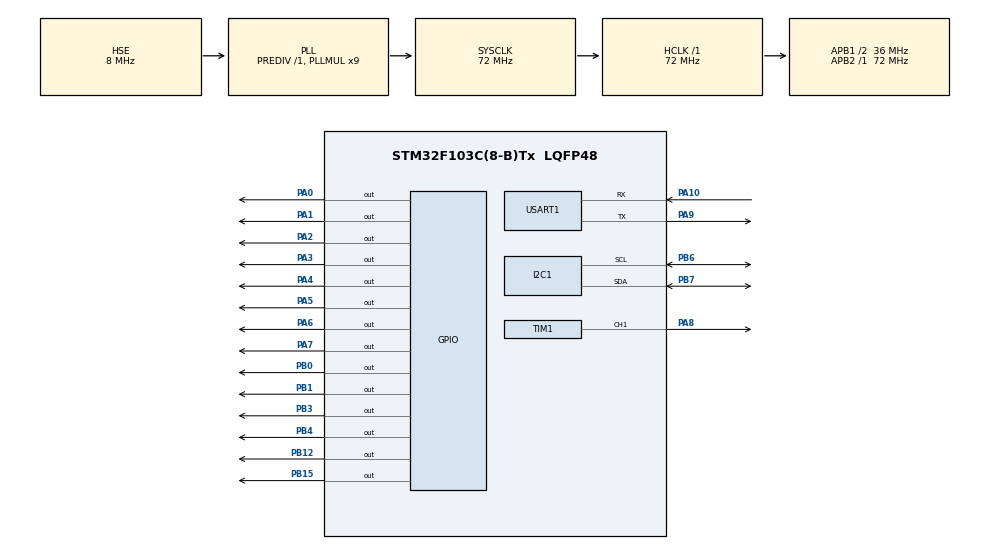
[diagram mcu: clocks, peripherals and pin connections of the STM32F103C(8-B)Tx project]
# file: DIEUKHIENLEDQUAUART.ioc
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Mcu.Family=STM32F1
Mcu.Name=STM32F103C(8-B)Tx
Mcu.Package=LQFP48
NVIC.PriorityGroup=NVIC_PRIORITYGROUP_4
NVIC.USART1_IRQn=true\:0\:0\:false\:false\:true\:true\:true\:true
PA0-WKUP.Signal=GPIO_Output
PA1.Signal=GPIO_Output
PA10.Mode=Asynchronous
PA10.Signal=USART1_RX
PA13.Mode=Serial_Wire
PA13.Signal=SYS_JTMS-SWDIO
PA14.Mode=Serial_Wire
PA14.Signal=SYS_JTCK-SWCLK
PA2.Signal=GPIO_Output
PA3.Signal=GPIO_Output
PA4.Signal=GPIO_Output
PA5.Signal=GPIO_Output
PA6.Signal=GPIO_Output
PA7.Signal=GPIO_Output
PA8.Signal=S_TIM1_CH1
PA9.Mode=Asynchronous
PA9.Signal=USART1_TX
PB0.Signal=GPIO_Output
PB1.Signal=GPIO_Output
PB12.Signal=GPIO_Output
PB15.Signal=GPIO_Output
PB3.Signal=GPIO_Output
PB4.Signal=GPIO_Output
PB6.Mode=I2C
PB6.Signal=I2C1_SCL
PB7.Mode=I2C
PB7.Signal=I2C1_SDA
PD0-OSC_IN.Mode=HSE-External-Oscillator
PD0-OSC_IN.Signal=RCC_OSC_IN
PD1-OSC_OUT.Mode=HSE-External-Oscillator
PD1-OSC_OUT.Signal=RCC_OSC_OUT
ProjectManager.HeapSize=0x200
ProjectManager.StackSize=0x400
ProjectManager.TargetToolchain=MDK-ARM V5.32
RCC.AHBFreq_Value=72000000
RCC.APB1CLKDivider=RCC_HCLK_DIV2
RCC.APB1Freq_Value=36000000
RCC.APB1TimFreq_Value=72000000
RCC.APB2Freq_Value=72000000
RCC.APB2TimFreq_Value=72000000
RCC.HCLKFreq_Value=72000000
RCC.PLLMUL=RCC_PLL_MUL9
RCC.PLLSourceVirtual=RCC_PLLSOURCE_HSE
RCC.SYSCLKFreq_VALUE=72000000
RCC.SYSCLKSource=RCC_SYSCLKSOURCE_PLLCLK
RCC.USBFreq_Value=72000000
SH.S_TIM1_CH1.0=TIM1_CH1,PWM Generation1 CH1
TIM1.Channel-PWM\ Generation1\ CH1=TIM_CHANNEL_1
TIM1.Period=999
TIM1.Prescaler=71
USART1.VirtualMode=VM_ASYNC
VP_TIM1_VS_ClockSourceINT.Mode=Internal
board=custom

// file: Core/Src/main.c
/* USER CODE BEGIN Header */
/**
  ******************************************************************************
  * @file           : main.c
  * @brief          : Main program body
  ******************************************************************************
  * @attention
  *
  * Copyright (c) 2023 STMicroelectronics.
  * All rights reserved.
  *
  * This software is licensed under terms that can be found in the LICENSE file
  * in the root directory of this software component.
  * If no LICENSE file comes with this software, it is provided AS-IS.
  *
  ******************************************************************************
  */
/* USER CODE END Header */
#include "main.h"

/* USER CODE BEGIN Includes */
#include "Uart.h"
#include "Response.h"
#include "Time3231.h"
#include "Time_service.h"
#include "Led7.h"
#include "Motor.h"
#include "Fan_service.h"
/* USER CODE END Includes */

I2C_HandleTypeDef hi2c1;

TIM_HandleTypeDef htim1;

UART_HandleTypeDef huart1;

void SystemClock_Config(void);
static void MX_GPIO_Init(void);
static void MX_USART1_UART_Init(void);
static void MX_I2C1_Init(void);
static void MX_TIM1_Init(void);

/* USER CODE BEGIN 0 */

RTC_DS3231 rtc_3231;
handle_motor motor;
Led7 LED1;
Led7 LED2;
Led7 LED3;
Led7 LED4;

unsigned char buff_rx ;
void HAL_UART_RxCpltCallback(UART_HandleTypeDef *huart){
	if(huart->Instance == huart1.Instance){
		uart_receive(buff_rx);
		HAL_UART_Receive_IT(&huart1 ,&buff_rx ,1);
	}
}

/* USER CODE END 0 */

int main(void)
{

  /* MCU Configuration--------------------------------------------------------*/

  /* Reset of all peripherals, Initializes the Flash interface and the Systick. */
  HAL_Init();

  /* Configure the system clock */
  SystemClock_Config();

  /* Initialize all configured peripherals */
  MX_GPIO_Init();
  MX_USART1_UART_Init();
  MX_I2C1_Init();
  MX_TIM1_Init();
  /* USER CODE BEGIN 2 */
	HAL_TIM_PWM_Start(&htim1,TIM_CHANNEL_1);
	response_init(&huart1);
	HAL_UART_Receive_IT(&huart1 ,&buff_rx ,1);
	Time3231_init_I2C(&hi2c1);
	fan_init(&motor,TIM_CHANNEL_1,&htim1,GPIO_PIN_15,GPIOB);

  /* USER CODE END 2 */

  /* Infinite loop */
  /* USER CODE BEGIN WHILE */
	uint32_t time;
  while (1)
  {
    /* USER CODE END WHILE */

    /* USER CODE BEGIN 3 */
		if(HAL_GetTick() - time > 1000){
			Time3231_read_RTC(&rtc_3231);
			time = HAL_GetTick();
		}
		//call uart
		uart_handle();
		//dieu khien led
		led7_anot_display_4(&LED1,&LED2,&LED3,&LED4 , rtc_3231.min, rtc_3231.sec);

		//dieu khien motor

  }
  /* USER CODE END 3 */
}

void SystemClock_Config(void)
{
  RCC_OscInitTypeDef RCC_OscInitStruct = {0};
  RCC_ClkInitTypeDef RCC_ClkInitStruct = {0};

  /** Initializes the RCC Oscillators according to the specified parameters
  * in the RCC_OscInitTypeDef structure.
  */
  RCC_OscInitStruct.OscillatorType = RCC_OSCILLATORTYPE_HSE;
  RCC_OscInitStruct.HSEState = RCC_HSE_ON;
  RCC_OscInitStruct.HSEPredivValue = RCC_HSE_PREDIV_DIV1;
  RCC_OscInitStruct.HSIState = RCC_HSI_ON;
  RCC_OscInitStruct.PLL.PLLState = RCC_PLL_ON;
  RCC_OscInitStruct.PLL.PLLSource = RCC_PLLSOURCE_HSE;
  RCC_OscInitStruct.PLL.PLLMUL = RCC_PLL_MUL9;
  if (HAL_RCC_OscConfig(&RCC_OscInitStruct) != HAL_OK)
  {
    Error_Handler();
  }

  /** Initializes the CPU, AHB and APB buses clocks
  */
  RCC_ClkInitStruct.ClockType = RCC_CLOCKTYPE_HCLK|RCC_CLOCKTYPE_SYSCLK
                              |RCC_CLOCKTYPE_PCLK1|RCC_CLOCKTYPE_PCLK2;
  RCC_ClkInitStruct.SYSCLKSource = RCC_SYSCLKSOURCE_PLLCLK;
  RCC_ClkInitStruct.AHBCLKDivider = RCC_SYSCLK_DIV1;
  RCC_ClkInitStruct.APB1CLKDivider = RCC_HCLK_DIV2;
  RCC_ClkInitStruct.APB2CLKDivider = RCC_HCLK_DIV1;

  if (HAL_RCC_ClockConfig(&RCC_ClkInitStruct, FLASH_LATENCY_2) != HAL_OK)
  {
    Error_Handler();
  }
}

static void MX_I2C1_Init(void)
{

  hi2c1.Instance = I2C1;
  hi2c1.Init.ClockSpeed = 100000;
  hi2c1.Init.DutyCycle = I2C_DUTYCYCLE_2;
  hi2c1.Init.OwnAddress1 = 0;
  hi2c1.Init.AddressingMode = I2C_ADDRESSINGMODE_7BIT;
  hi2c1.Init.DualAddressMode = I2C_DUALADDRESS_DISABLE;
  hi2c1.Init.OwnAddress2 = 0;
  hi2c1.Init.GeneralCallMode = I2C_GENERALCALL_DISABLE;
  hi2c1.Init.NoStretchMode = I2C_NOSTRETCH_DISABLE;
  if (HAL_I2C_Init(&hi2c1) != HAL_OK)
  {
    Error_Handler();
  }

}

static void MX_TIM1_Init(void)
{

  TIM_ClockConfigTypeDef sClockSourceConfig = {0};
  TIM_MasterConfigTypeDef sMasterConfig = {0};
  TIM_OC_InitTypeDef sConfigOC = {0};
  TIM_BreakDeadTimeConfigTypeDef sBreakDeadTimeConfig = {0};

  htim1.Instance = TIM1;
  htim1.Init.Prescaler = 71;
  htim1.Init.CounterMode = TIM_COUNTERMODE_UP;
  htim1.Init.Period = 999;
  htim1.Init.ClockDivision = TIM_CLOCKDIVISION_DIV1;
  htim1.Init.RepetitionCounter = 0;
  htim1.Init.AutoReloadPreload = TIM_AUTORELOAD_PRELOAD_DISABLE;
  if (HAL_TIM_Base_Init(&htim1) != HAL_OK)
  {
    Error_Handler();
  }
  sClockSourceConfig.ClockSource = TIM_CLOCKSOURCE_INTERNAL;
  if (HAL_TIM_ConfigClockSource(&htim1, &sClockSourceConfig) != HAL_OK)
  {
    Error_Handler();
  }
  if (HAL_TIM_PWM_Init(&htim1) != HAL_OK)
  {
    Error_Handler();
  }
  sMasterConfig.MasterOutputTrigger = TIM_TRGO_RESET;
  sMasterConfig.MasterSlaveMode = TIM_MASTERSLAVEMODE_DISABLE;
  if (HAL_TIMEx_MasterConfigSynchronization(&htim1, &sMasterConfig) != HAL_OK)
  {
    Error_Handler();
  }
  sConfigOC.OCMode = TIM_OCMODE_PWM1;
  sConfigOC.Pulse = 0;
  sConfigOC.OCPolarity = TIM_OCPOLARITY_HIGH;
  sConfigOC.OCNPolarity = TIM_OCNPOLARITY_HIGH;
  sConfigOC.OCFastMode = TIM_OCFAST_DISABLE;
  sConfigOC.OCIdleState = TIM_OCIDLESTATE_RESET;
  sConfigOC.OCNIdleState = TIM_OCNIDLESTATE_RESET;
  if (HAL_TIM_PWM_ConfigChannel(&htim1, &sConfigOC, TIM_CHANNEL_1) != HAL_OK)
  {
    Error_Handler();
  }
  sBreakDeadTimeConfig.OffStateRunMode = TIM_OSSR_DISABLE;
  sBreakDeadTimeConfig.OffStateIDLEMode = TIM_OSSI_DISABLE;
  sBreakDeadTimeConfig.LockLevel = TIM_LOCKLEVEL_OFF;
  sBreakDeadTimeConfig.DeadTime = 0;
  sBreakDeadTimeConfig.BreakState = TIM_BREAK_DISABLE;
  sBreakDeadTimeConfig.BreakPolarity = TIM_BREAKPOLARITY_HIGH;
  sBreakDeadTimeConfig.AutomaticOutput = TIM_AUTOMATICOUTPUT_DISABLE;
  if (HAL_TIMEx_ConfigBreakDeadTime(&htim1, &sBreakDeadTimeConfig) != HAL_OK)
  {
    Error_Handler();
  }
  HAL_TIM_MspPostInit(&htim1);

}

static void MX_USART1_UART_Init(void)
{

  huart1.Instance = USART1;
  huart1.Init.BaudRate = 9600;
  huart1.Init.WordLength = UART_WORDLENGTH_8B;
  huart1.Init.StopBits = UART_STOPBITS_1;
  huart1.Init.Parity = UART_PARITY_NONE;
  huart1.Init.Mode = UART_MODE_TX_RX;
  huart1.Init.HwFlowCtl = UART_HWCONTROL_NONE;
  huart1.Init.OverSampling = UART_OVERSAMPLING_16;
  if (HAL_UART_Init(&huart1) != HAL_OK)
  {
    Error_Handler();
  }

}

static void MX_GPIO_Init(void)
{
  GPIO_InitTypeDef GPIO_InitStruct = {0};

  /* GPIO Ports Clock Enable */
  __HAL_RCC_GPIOD_CLK_ENABLE();
  __HAL_RCC_GPIOA_CLK_ENABLE();
  __HAL_RCC_GPIOB_CLK_ENABLE();

  /*Configure GPIO pin Output Level */
  HAL_GPIO_WritePin(GPIOA, GPIO_PIN_0|GPIO_PIN_1|GPIO_PIN_2|GPIO_PIN_3
                          |GPIO_PIN_4|GPIO_PIN_5|GPIO_PIN_6|GPIO_PIN_7, GPIO_PIN_RESET);

  /*Configure GPIO pin Output Level */
  HAL_GPIO_WritePin(GPIOB, GPIO_PIN_0|GPIO_PIN_1|GPIO_PIN_12|GPIO_PIN_15
                          |GPIO_PIN_3|GPIO_PIN_4, GPIO_PIN_RESET);

  /*Configure GPIO pins : PA0 PA1 PA2 PA3
                           PA4 PA5 PA6 PA7 */
  GPIO_InitStruct.Pin = GPIO_PIN_0|GPIO_PIN_1|GPIO_PIN_2|GPIO_PIN_3
                          |GPIO_PIN_4|GPIO_PIN_5|GPIO_PIN_6|GPIO_PIN_7;
  GPIO_InitStruct.Mode = GPIO_MODE_OUTPUT_PP;
  GPIO_InitStruct.Pull = GPIO_NOPULL;
  GPIO_InitStruct.Speed = GPIO_SPEED_FREQ_LOW;
  HAL_GPIO_Init(GPIOA, &GPIO_InitStruct);

  /*Configure GPIO pins : PB0 PB1 PB12 PB15
                           PB3 PB4 */
  GPIO_InitStruct.Pin = GPIO_PIN_0|GPIO_PIN_1|GPIO_PIN_12|GPIO_PIN_15
                          |GPIO_PIN_3|GPIO_PIN_4;
  GPIO_InitStruct.Mode = GPIO_MODE_OUTPUT_PP;
  GPIO_InitStruct.Pull = GPIO_NOPULL;
  GPIO_InitStruct.Speed = GPIO_SPEED_FREQ_LOW;
  HAL_GPIO_Init(GPIOB, &GPIO_InitStruct);

}

void Error_Handler(void)
{
  __disable_irq();
  while (1)
  {
  }
}
